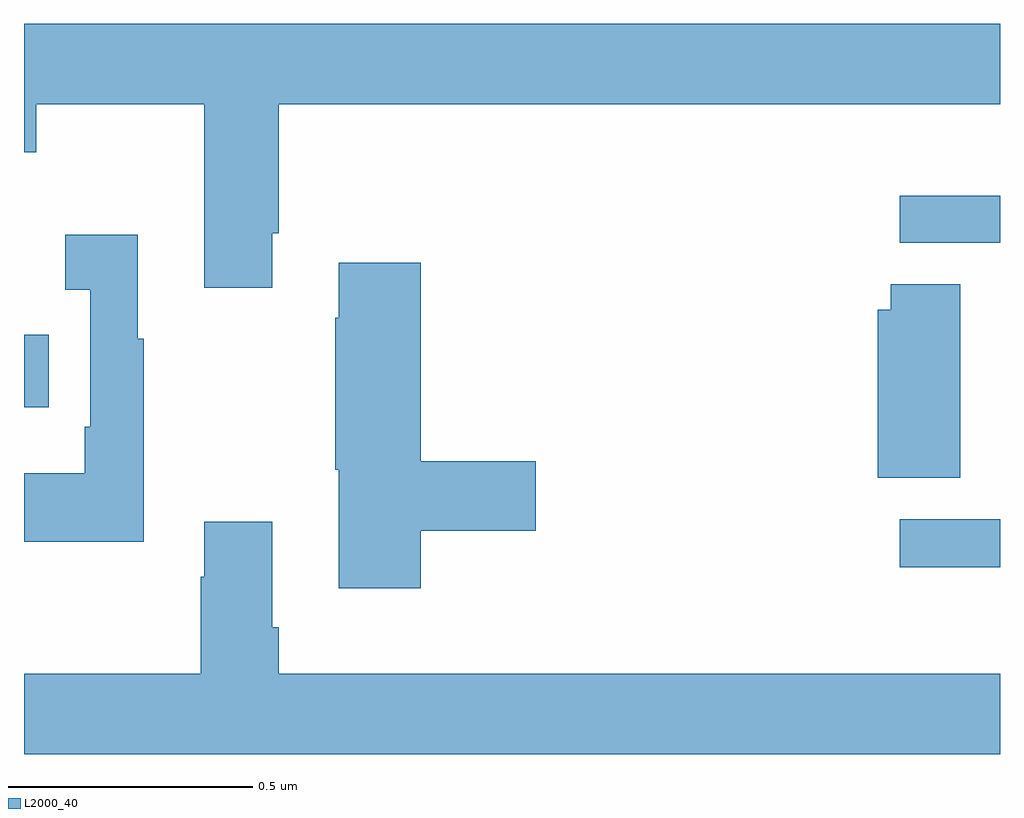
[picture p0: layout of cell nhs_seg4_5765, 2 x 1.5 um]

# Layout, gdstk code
import gdstk
lib = gdstk.Library(unit=1e-6, precision=1e-09)
def R(c, l, rs):  # rectangles x0, y0, x1, y1
    for r in rs: c.add(gdstk.rectangle(r[:2], r[2:], *l))
def P(c, l, *ps):  # polygons
    for p in ps: c.add(gdstk.Polygon(p, *l))
L2000_40 = (2000, 40)

nhs_seg4_5765 = lib.new_cell('nhs_seg4_5765')
R(nhs_seg4_5765, L2000_40, [(183.795,766.567,184,766.665), (182,766.895,182.051,767.043), (183.795,767.232,184,767.328)])
P(nhs_seg4_5765, L2000_40, [(182.509,767.251),(182.522,767.251),(182.522,767.516),(184,767.516),(184,767.68),(182,767.68),(182,767.417),(182.025,767.417),(182.025,767.516),(182.369,767.516),(182.369,767.139),(182.509,767.139)],
  [(182.245,767.035),(182.233,767.035),(182.233,767.248),(182.085,767.248),(182.085,767.135),(182.136,767.135),(182.136,766.855),(182.124,766.855),(182.124,766.759),(182,766.759),(182,766.619),(182.245,766.619)],
  [(182.813,766.642),(183.049,766.642),(183.049,766.784),(182.813,766.784),(182.813,767.191),(182.645,767.191),(182.645,767.078),(182.638,767.078),(182.638,766.767),(182.645,766.767),(182.645,766.524),(182.813,766.524)],
  [(183.919,767.147),(183.776,767.147),(183.776,767.094),(183.749,767.094),(183.749,766.75),(183.919,766.75)],
  [(184,766.348),(182.522,766.348),(182.522,766.444),(182.509,766.444),(182.509,766.66),(182.369,766.66),(182.369,766.547),(182.362,766.547),(182.362,766.348),(182,766.348),(182,766.184),(184,766.184)])

lib.write_gds('nhs_seg4_5765.gds')
